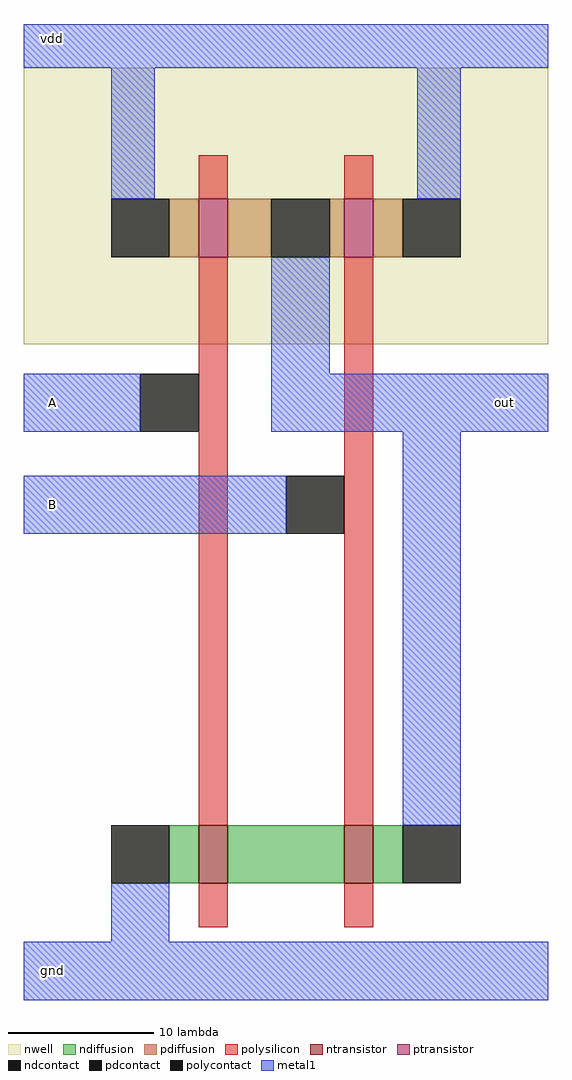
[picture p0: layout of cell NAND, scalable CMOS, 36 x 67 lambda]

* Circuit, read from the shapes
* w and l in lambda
.subckt NAND A B gnd out vdd
M1 n1 A gnd VSUBS nfet w=4 l=2
M2 out B n1 VSUBS nfet w=4 l=2
M3 out A vdd n2 pfet w=4 l=2
M4 vdd B out n2 pfet w=4 l=2
.ends

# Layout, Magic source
magic
tech scmos
<< nwell >>
rect -21 3 15 22
<< ntransistor >>
rect -9 -34 -7 -30
rect 1 -34 3 -30
<< ptransistor >>
rect -9 9 -7 13
rect 1 9 3 13
<< ndiffusion >>
rect -11 -34 -9 -30
rect -7 -34 1 -30
rect 3 -34 5 -30
<< pdiffusion >>
rect -11 9 -9 13
rect -7 9 -4 13
rect 0 9 1 13
rect 3 9 5 13
<< ndcontact >>
rect -15 -34 -11 -30
rect 5 -34 9 -30
<< pdcontact >>
rect -15 9 -11 13
rect -4 9 0 13
rect 5 9 9 13
<< polysilicon >>
rect -9 13 -7 16
rect 1 13 3 16
rect -9 -30 -7 9
rect 1 -30 3 9
rect -9 -37 -7 -34
rect 1 -37 3 -34
<< polycontact >>
rect -13 -3 -9 1
rect -3 -10 1 -6
<< metal1 >>
rect -21 22 15 25
rect -15 13 -12 22
rect 6 13 9 22
rect -4 1 0 9
rect -21 -3 -13 1
rect -4 -3 15 1
rect -21 -10 -3 -6
rect 5 -30 9 -3
rect -15 -38 -11 -34
rect -21 -42 15 -38
<< labels >>
rlabel metal1 -20 -41 -18 -39 2 gnd
rlabel metal1 -20 23 -18 25 4 vdd
rlabel metal1 -20 -2 -18 0 3 A
rlabel metal1 -20 -9 -18 -7 3 B
rlabel metal1 11 -2 13 0 7 out
<< end >>
